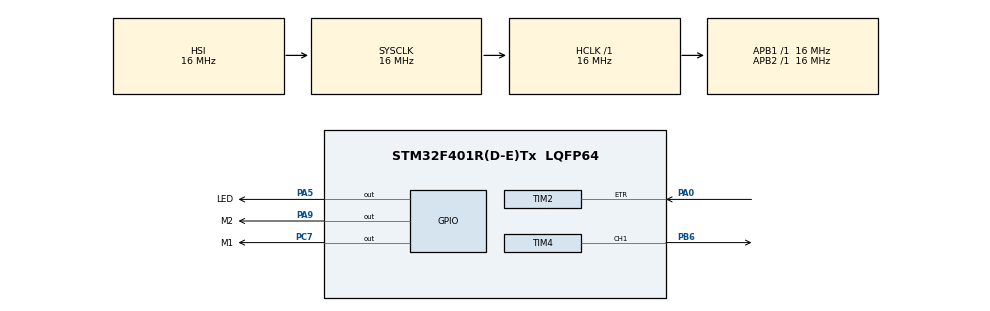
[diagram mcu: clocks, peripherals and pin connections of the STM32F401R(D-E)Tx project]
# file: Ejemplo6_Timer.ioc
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Mcu.Family=STM32F4
Mcu.Name=STM32F401R(D-E)Tx
Mcu.Package=LQFP64
NVIC.PriorityGroup=NVIC_PRIORITYGROUP_4
NVIC.TIM1_UP_TIM10_IRQn=true\:0\:0\:false\:false\:true\:true\:true\:true
PA0-WKUP.Signal=S_TIM2_CH1_ETR
PA13.Mode=Serial_Wire
PA13.Signal=SYS_JTMS-SWDIO
PA14.Mode=Serial_Wire
PA14.Signal=SYS_JTCK-SWCLK
PA5.GPIO_Label=LED
PA5.Signal=GPIO_Output
PA9.GPIO_Label=M2
PA9.Signal=GPIO_Output
PB6.Signal=S_TIM4_CH1
PC7.GPIO_Label=M1
PC7.Signal=GPIO_Output
ProjectManager.HeapSize=0x200
ProjectManager.StackSize=0x400
ProjectManager.TargetToolchain=STM32CubeIDE
RCC.AHBFreq_Value=16000000
RCC.APB1Freq_Value=16000000
RCC.APB2Freq_Value=16000000
RCC.CortexFreq_Value=16000000
RCC.HSE_VALUE=25000000
RCC.HSI_VALUE=16000000
RCC.LSE_VALUE=32768
RCC.SYSCLKFreq_VALUE=16000000
RCC.VCOOutputFreq_Value=192000000
SH.S_TIM2_CH1_ETR.0=TIM2_ETR,ClockSourceETR_Mode2
SH.S_TIM4_CH1.0=TIM4_CH1,PWM Generation1 CH1
TIM1.Period=800 - 1
TIM1.Prescaler=100 - 1
TIM4.Channel-PWM\ Generation1\ CH1=TIM_CHANNEL_1
TIM4.Period=1600-1
TIM4.Prescaler=10-1
VP_TIM1_VS_ClockSourceINT.Mode=Internal
board=custom

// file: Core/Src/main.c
/* USER CODE BEGIN Header */
/**
  ******************************************************************************
  * @file           : main.c
  * @brief          : Main program body
  ******************************************************************************
  * @attention
  *
  * Copyright (c) 2023 STMicroelectronics.
  * All rights reserved.
  *
  * This software is licensed under terms that can be found in the LICENSE file
  * in the root directory of this software component.
  * If no LICENSE file comes with this software, it is provided AS-IS.
  *
  ******************************************************************************
  */
/* USER CODE END Header */
#include "main.h"

/* USER CODE BEGIN Includes */
#include "math.h"
/* USER CODE END Includes */

TIM_HandleTypeDef htim1;
TIM_HandleTypeDef htim2;
TIM_HandleTypeDef htim4;

void SystemClock_Config(void);
static void MX_GPIO_Init(void);
static void MX_TIM1_Init(void);
static void MX_TIM4_Init(void);
static void MX_TIM2_Init(void);

/* USER CODE BEGIN 0 */
float contador=0;
float rpm=0;
float w=0;
#define Vueltas 120// los pulsos del encoder
#define Ts 10E-3
/* USER CODE END 0 */

int main(void)
{

  /* MCU Configuration--------------------------------------------------------*/

  /* Reset of all peripherals, Initializes the Flash interface and the Systick. */
  HAL_Init();

  /* Configure the system clock */
  SystemClock_Config();

  /* Initialize all configured peripherals */
  MX_GPIO_Init();
  MX_TIM1_Init();
  MX_TIM4_Init();
  MX_TIM2_Init();
  /* USER CODE BEGIN 2 */

  HAL_GPIO_WritePin(M1_GPIO_Port, M1_Pin, 0);
  HAL_GPIO_WritePin(M2_GPIO_Port, M2_Pin, 1);

HAL_TIM_Base_Start_IT(&htim1);
HAL_TIM_Base_Start(&htim2);
HAL_TIM_PWM_Start(&htim4, TIM_CHANNEL_1);
__HAL_TIM_SET_COMPARE(&htim4, TIM_CHANNEL_1,1500);
uint16_t i = 0;
  /* USER CODE END 2 */

  /* Infinite loop */
  /* USER CODE BEGIN WHILE */
  while (1)
  {
/*
	  for (i = 250; i < 1600;i++ ) {
		  __HAL_TIM_SET_COMPARE(&htim4, TIM_CHANNEL_1,i);
		  HAL_Delay(50);
	}*/

	 // HAL_GPIO_TogglePin(LED_GPIO_Port, LED_Pin);
	/// HAL_Delay(537);
    /* USER CODE END WHILE */

  }
}

void SystemClock_Config(void)
{
  RCC_OscInitTypeDef RCC_OscInitStruct = {0};
  RCC_ClkInitTypeDef RCC_ClkInitStruct = {0};

  /** Configure the main internal regulator output voltage
  */
  __HAL_RCC_PWR_CLK_ENABLE();
  __HAL_PWR_VOLTAGESCALING_CONFIG(PWR_REGULATOR_VOLTAGE_SCALE2);

  /** Initializes the RCC Oscillators according to the specified parameters
  * in the RCC_OscInitTypeDef structure.
  */
  RCC_OscInitStruct.OscillatorType = RCC_OSCILLATORTYPE_HSI;
  RCC_OscInitStruct.HSIState = RCC_HSI_ON;
  RCC_OscInitStruct.HSICalibrationValue = RCC_HSICALIBRATION_DEFAULT;
  RCC_OscInitStruct.PLL.PLLState = RCC_PLL_NONE;
  if (HAL_RCC_OscConfig(&RCC_OscInitStruct) != HAL_OK)
  {
    Error_Handler();
  }

  /** Initializes the CPU, AHB and APB buses clocks
  */
  RCC_ClkInitStruct.ClockType = RCC_CLOCKTYPE_HCLK|RCC_CLOCKTYPE_SYSCLK
                              |RCC_CLOCKTYPE_PCLK1|RCC_CLOCKTYPE_PCLK2;
  RCC_ClkInitStruct.SYSCLKSource = RCC_SYSCLKSOURCE_HSI;
  RCC_ClkInitStruct.AHBCLKDivider = RCC_SYSCLK_DIV1;
  RCC_ClkInitStruct.APB1CLKDivider = RCC_HCLK_DIV1;
  RCC_ClkInitStruct.APB2CLKDivider = RCC_HCLK_DIV1;

  if (HAL_RCC_ClockConfig(&RCC_ClkInitStruct, FLASH_LATENCY_0) != HAL_OK)
  {
    Error_Handler();
  }
}

static void MX_TIM1_Init(void)
{

  TIM_ClockConfigTypeDef sClockSourceConfig = {0};
  TIM_MasterConfigTypeDef sMasterConfig = {0};

  htim1.Instance = TIM1;
  htim1.Init.Prescaler = 100 - 1;
  htim1.Init.CounterMode = TIM_COUNTERMODE_UP;
  htim1.Init.Period = 800 - 1;
  htim1.Init.ClockDivision = TIM_CLOCKDIVISION_DIV1;
  htim1.Init.RepetitionCounter = 0;
  htim1.Init.AutoReloadPreload = TIM_AUTORELOAD_PRELOAD_DISABLE;
  if (HAL_TIM_Base_Init(&htim1) != HAL_OK)
  {
    Error_Handler();
  }
  sClockSourceConfig.ClockSource = TIM_CLOCKSOURCE_INTERNAL;
  if (HAL_TIM_ConfigClockSource(&htim1, &sClockSourceConfig) != HAL_OK)
  {
    Error_Handler();
  }
  sMasterConfig.MasterOutputTrigger = TIM_TRGO_RESET;
  sMasterConfig.MasterSlaveMode = TIM_MASTERSLAVEMODE_DISABLE;
  if (HAL_TIMEx_MasterConfigSynchronization(&htim1, &sMasterConfig) != HAL_OK)
  {
    Error_Handler();
  }

}

static void MX_TIM2_Init(void)
{

  TIM_ClockConfigTypeDef sClockSourceConfig = {0};
  TIM_MasterConfigTypeDef sMasterConfig = {0};

  htim2.Instance = TIM2;
  htim2.Init.Prescaler = 0;
  htim2.Init.CounterMode = TIM_COUNTERMODE_UP;
  htim2.Init.Period = 4294967295;
  htim2.Init.ClockDivision = TIM_CLOCKDIVISION_DIV1;
  htim2.Init.AutoReloadPreload = TIM_AUTORELOAD_PRELOAD_DISABLE;
  if (HAL_TIM_Base_Init(&htim2) != HAL_OK)
  {
    Error_Handler();
  }
  sClockSourceConfig.ClockSource = TIM_CLOCKSOURCE_ETRMODE2;
  sClockSourceConfig.ClockPolarity = TIM_CLOCKPOLARITY_NONINVERTED;
  sClockSourceConfig.ClockPrescaler = TIM_CLOCKPRESCALER_DIV1;
  sClockSourceConfig.ClockFilter = 0;
  if (HAL_TIM_ConfigClockSource(&htim2, &sClockSourceConfig) != HAL_OK)
  {
    Error_Handler();
  }
  sMasterConfig.MasterOutputTrigger = TIM_TRGO_RESET;
  sMasterConfig.MasterSlaveMode = TIM_MASTERSLAVEMODE_DISABLE;
  if (HAL_TIMEx_MasterConfigSynchronization(&htim2, &sMasterConfig) != HAL_OK)
  {
    Error_Handler();
  }

}

static void MX_TIM4_Init(void)
{

  TIM_MasterConfigTypeDef sMasterConfig = {0};
  TIM_OC_InitTypeDef sConfigOC = {0};

  htim4.Instance = TIM4;
  htim4.Init.Prescaler = 10-1;
  htim4.Init.CounterMode = TIM_COUNTERMODE_UP;
  htim4.Init.Period = 1600-1;
  htim4.Init.ClockDivision = TIM_CLOCKDIVISION_DIV1;
  htim4.Init.AutoReloadPreload = TIM_AUTORELOAD_PRELOAD_DISABLE;
  if (HAL_TIM_PWM_Init(&htim4) != HAL_OK)
  {
    Error_Handler();
  }
  sMasterConfig.MasterOutputTrigger = TIM_TRGO_RESET;
  sMasterConfig.MasterSlaveMode = TIM_MASTERSLAVEMODE_DISABLE;
  if (HAL_TIMEx_MasterConfigSynchronization(&htim4, &sMasterConfig) != HAL_OK)
  {
    Error_Handler();
  }
  sConfigOC.OCMode = TIM_OCMODE_PWM1;
  sConfigOC.Pulse = 0;
  sConfigOC.OCPolarity = TIM_OCPOLARITY_HIGH;
  sConfigOC.OCFastMode = TIM_OCFAST_DISABLE;
  if (HAL_TIM_PWM_ConfigChannel(&htim4, &sConfigOC, TIM_CHANNEL_1) != HAL_OK)
  {
    Error_Handler();
  }
  HAL_TIM_MspPostInit(&htim4);

}

static void MX_GPIO_Init(void)
{
  GPIO_InitTypeDef GPIO_InitStruct = {0};

  /* GPIO Ports Clock Enable */
  __HAL_RCC_GPIOA_CLK_ENABLE();
  __HAL_RCC_GPIOC_CLK_ENABLE();
  __HAL_RCC_GPIOB_CLK_ENABLE();

  /*Configure GPIO pin Output Level */
  HAL_GPIO_WritePin(GPIOA, LED_Pin|M2_Pin, GPIO_PIN_RESET);

  /*Configure GPIO pin Output Level */
  HAL_GPIO_WritePin(M1_GPIO_Port, M1_Pin, GPIO_PIN_RESET);

  /*Configure GPIO pins : LED_Pin M2_Pin */
  GPIO_InitStruct.Pin = LED_Pin|M2_Pin;
  GPIO_InitStruct.Mode = GPIO_MODE_OUTPUT_PP;
  GPIO_InitStruct.Pull = GPIO_NOPULL;
  GPIO_InitStruct.Speed = GPIO_SPEED_FREQ_LOW;
  HAL_GPIO_Init(GPIOA, &GPIO_InitStruct);

  /*Configure GPIO pin : M1_Pin */
  GPIO_InitStruct.Pin = M1_Pin;
  GPIO_InitStruct.Mode = GPIO_MODE_OUTPUT_PP;
  GPIO_InitStruct.Pull = GPIO_NOPULL;
  GPIO_InitStruct.Speed = GPIO_SPEED_FREQ_LOW;
  HAL_GPIO_Init(M1_GPIO_Port, &GPIO_InitStruct);

}

/* USER CODE BEGIN 4 */
void HAL_TIM_PeriodElapsedCallback(TIM_HandleTypeDef *htim){

	if (htim == &htim1) {
		HAL_GPIO_TogglePin(LED_GPIO_Port, LED_Pin);

		contador = __HAL_TIM_GET_COUNTER(&htim2);
		__HAL_TIM_SET_COUNTER(&htim2,0);
		rpm = contador*(60)/(Ts*Vueltas);
		w = rpm*2*M_PI/60;
	}

}
/* USER CODE END 4 */

void Error_Handler(void)
{
  __disable_irq();
  while (1)
  {
  }
}
